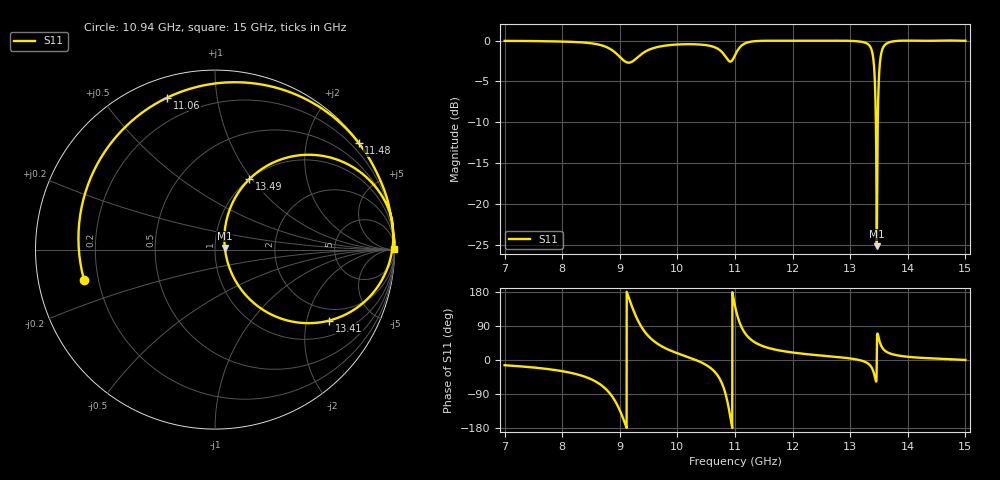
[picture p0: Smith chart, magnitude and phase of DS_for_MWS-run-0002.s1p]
! TOUCHSTONE file generated by CST DESIGN STUDIO
! Date and time: Mon Feb 10 16:44:06 2025
! Project name: C:\Work\MatlabApps\UnitCellType2OptimizationMatlab\CST\unitcell.cst
! Tree item: Tasks\Sweep1\SPara1\S-Parameters
! Header version: 2024
! Port assignment regex: !\s*Touchstone port\s*([0-9]+)\s*=\s*(CST MWS port|CST DES external port|CST DES block port)\s*(.+)\s* \(\"(.*)\"\)(\s*mode\s*([0-9]+))?.*
! Touchstone port assignment:
! Touchstone port 1 = CST DES external port 1 ("")
# GHz S MA R 50
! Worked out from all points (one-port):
!   4001 points, 7 GHz to 15 GHz, reference 50 ohm
!   lowest |S11| = -25.1 dB at 13.46 GHz (marker M1), VSWR 1.12, Z = 55.8 + j0.951 ohm
!   |S11| at or under -10 dB: 13.44549 GHz to 13.47837 GHz (32.88 MHz wide, 0.244 % of centre)
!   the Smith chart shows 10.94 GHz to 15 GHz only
!   S11 on the Smith chart (normalised r, x): 10.94 GHz: 0.15, -0.11; 11.06 GHz: 0.09, +0.73; 11.48 GHz: 0.02, +3.02; 13.41 GHz: 1.52, -2.74; 13.49 GHz: 1.00, +0.97; 15 GHz: open
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7  0.9962 -13.8
8  0.9864 -29.4
8.608  0.9496 -59.2
8.848  0.8822 -92.2
9  0.795 -132.7
9.152  0.7329 166.0
9.348  0.8118 94.5
9.608  0.905 47.9
10  0.9466 17.7
10.652  0.9093 -31.8
10.752  0.8651 -54.6
10.834  0.7996 -88.6
10.886  0.7551 -123.1
10.938  0.7489 -167.0
11  0.8135 142.5
11.06  0.8876 107.5
11.226  0.9763 61.1
11.482  0.997 36.7
12  0.9996 19.8
13  0.9962 4.1
13.31  0.9504 -9.4
13.406  0.7487 -31.9
13.462  0.05539 8.8
13.486  0.4355 64.1
13.53  0.8028 40.4
13.614  0.9495 23.3
14  0.9997 8.4
15  0.9969 0.1
